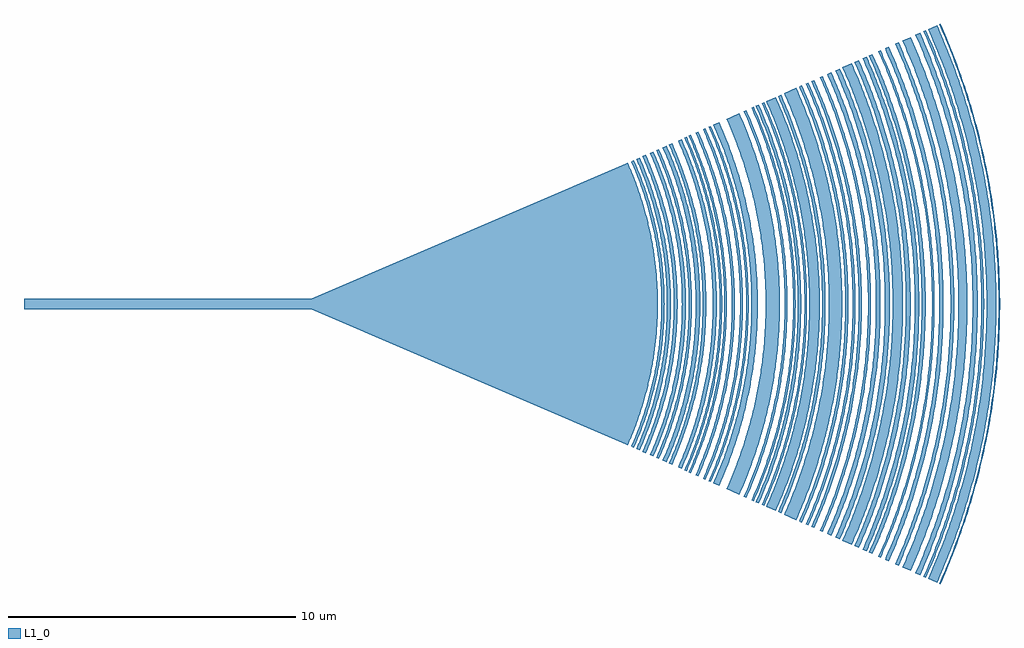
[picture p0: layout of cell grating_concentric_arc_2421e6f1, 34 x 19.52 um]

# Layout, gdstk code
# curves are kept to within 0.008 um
import gdstk
lib = gdstk.Library(unit=1e-6, precision=1e-09)
def R(c, l, rs):  # rectangles x0, y0, x1, y1
    for r in rs: c.add(gdstk.rectangle(r[:2], r[2:], *l))
def P(c, l, *ps):  # polygons
    for p in ps: c.add(gdstk.Polygon(p, *l))
L1_0 = (1, 0)

straight_b617759b = lib.new_cell('straight_b617759b')
R(straight_b617759b, L1_0, [(0,-0.175,10,0.175)])

ring_1ca9b793_transform_ = lib.new_cell('ring_1ca9b793_transform_1414539b')
P(ring_1ca9b793_transform_, L1_0, [(10.963,-4.881),(11.178,-4.366),(11.413,-3.708),(11.591,-3.106),(11.738,-2.495),(11.83,-2.015),(11.927,-1.324),(11.98,-0.698),(12,-0.07),(11.984,0.628),(11.948,1.115),(11.893,1.601),(11.78,2.29),(11.644,2.903),(11.434,3.642),(11.228,4.235),(10.963,4.881),(11.036,4.913),(11.278,4.329),(11.489,3.733),(11.668,3.127),(11.816,2.512),(11.931,1.89),(12.014,1.263),(12.067,0.562),(12.08,-0.07),(12.06,-0.702),(12.014,-1.263),(11.92,-1.959),(11.786,-2.649),(11.573,-3.465),(11.327,-4.198),(11.036,-4.913)])

ring_3956901d_transform_ = lib.new_cell('ring_3956901d_transform_1ece38c4')
P(ring_3956901d_transform_, L1_0, [(11.149,-4.964),(11.368,-4.44),(11.607,-3.771),(11.788,-3.159),(11.952,-2.468),(12.065,-1.839),(12.137,-1.276),(12.191,-0.568),(12.204,-0.071),(12.191,0.568),(12.151,1.134),(12.065,1.839),(11.98,2.329),(11.824,3.021),(11.65,3.636),(11.419,4.307),(11.149,4.964),(11.248,5.008),(11.52,4.346),(11.754,3.668),(11.947,2.979),(12.073,2.42),(12.183,1.784),(12.266,1.073),(12.305,0.43),(12.312,-0.143),(12.283,-0.859),(12.221,-1.501),(12.126,-2.138),(11.981,-2.839),(11.754,-3.668),(11.642,-4.009),(11.443,-4.546),(11.248,-5.008)])

ring_b46a7c33_transform_ = lib.new_cell('ring_b46a7c33_transform_6a0364df')
P(ring_b46a7c33_transform_, L1_0, [(11.327,-5.043),(11.55,-4.511),(11.77,-3.9),(11.958,-3.279),(12.113,-2.648),(12.247,-1.94),(12.324,-1.368),(12.374,-0.793),(12.399,-0.072),(12.386,0.577),(12.346,1.153),(12.279,1.726),(12.185,2.295),(12.031,3),(11.836,3.694),(11.627,4.308),(11.327,5.043),(11.449,5.098),(11.752,4.355),(11.964,3.734),(12.143,3.103),(12.289,2.463),(12.401,1.816),(12.472,1.238),(12.523,0.51),(12.533,-0.073),(12.497,-0.947),(12.421,-1.672),(12.303,-2.391),(12.161,-3.032),(12.027,-3.525),(11.897,-3.942),(11.752,-4.355),(11.565,-4.83),(11.449,-5.098)])

ring_a97a2f3e_transform_ = lib.new_cell('ring_a97a2f3e_transform_fb9c0f88')
P(ring_a97a2f3e_transform_, L1_0, [(11.545,-5.14),(11.825,-4.46),(12.042,-3.835),(12.226,-3.2),(12.362,-2.628),(12.471,-2.05),(12.569,-1.321),(12.621,-0.661),(12.638,-0.074),(12.627,0.515),(12.59,1.101),(12.525,1.686),(12.433,2.267),(12.28,2.986),(12.086,3.695),(11.825,4.46),(11.545,5.14),(11.663,5.193),(11.946,4.506),(12.165,3.875),(12.351,3.233),(12.488,2.654),(12.61,1.997),(12.705,1.261),(12.75,0.668),(12.767,-0.074),(12.736,-0.891),(12.663,-1.63),(12.533,-2.436),(12.406,-3.017),(12.165,-3.875),(11.865,-4.714),(11.663,-5.193)])

ring_4e7c77b2_transform_ = lib.new_cell('ring_4e7c77b2_transform_bd4cb71f')
P(ring_4e7c77b2_transform_, L1_0, [(11.805,-5.256),(12.01,-4.771),(12.267,-4.065),(12.463,-3.417),(12.608,-2.834),(12.739,-2.17),(12.844,-1.426),(12.901,-0.751),(12.922,-0.15),(12.915,0.451),(12.88,1.051),(12.817,1.649),(12.713,2.318),(12.557,3.053),(12.336,3.85),(12.091,4.561),(11.805,5.256),(11.927,5.31),(12.189,4.679),(12.417,4.034),(12.611,3.379),(12.786,2.64),(12.907,1.967),(12.992,1.289),(13.042,0.607),(13.056,-0.076),(13.034,-0.759),(12.968,-1.516),(12.844,-2.342),(12.704,-3.011),(12.463,-3.89),(12.32,-4.322),(12.105,-4.891),(11.927,-5.31)])

ring_9721cec2_transform_ = lib.new_cell('ring_9721cec2_transform_f5c1eb03')
P(ring_9721cec2_transform_, L1_0, [(12.022,-5.353),(12.286,-4.716),(12.516,-4.067),(12.671,-3.554),(12.856,-2.811),(12.986,-2.134),(13.088,-1.376),(13.142,-0.689),(13.16,-0.077),(13.146,0.612),(13.103,1.223),(13.032,1.831),(12.918,2.511),(12.731,3.332),(12.516,4.067),(12.286,4.716),(12.022,5.353),(12.116,5.394),(12.382,4.753),(12.614,4.098),(12.811,3.433),(12.989,2.682),(13.123,1.922),(13.198,1.31),(13.252,0.54),(13.262,-0.154),(13.225,-1.002),(13.164,-1.616),(13.048,-2.379),(12.905,-3.059),(12.683,-3.878),(12.515,-4.391),(12.382,-4.753),(12.116,-5.394)])

ring_73bfcdc7_transform_ = lib.new_cell('ring_73bfcdc7_transform_58539720')
P(ring_73bfcdc7_transform_, L1_0, [(12.242,-5.451),(12.483,-4.875),(12.721,-4.215),(12.924,-3.544),(13.075,-2.939),(13.211,-2.25),(13.301,-1.633),(13.363,-1.013),(13.399,-0.234),(13.393,0.468),(13.363,1.013),(13.291,1.711),(13.184,2.404),(13.003,3.242),(12.792,3.993),(12.539,4.73),(12.242,5.451),(12.385,5.514),(12.685,4.785),(12.942,4.039),(13.155,3.28),(13.293,2.664),(13.414,1.965),(13.506,1.182),(13.549,0.473),(13.554,-0.315),(13.506,-1.182),(13.436,-1.809),(13.323,-2.509),(13.155,-3.28),(13.054,-3.661),(12.894,-4.189),(12.74,-4.637),(12.51,-5.225),(12.385,-5.514)])

ring_8335ac07_transform_ = lib.new_cell('ring_8335ac07_transform_bd6a7ccd')
P(ring_8335ac07_transform_, L1_0, [(12.464,-5.549),(12.738,-4.89),(12.976,-4.216),(13.179,-3.531),(13.346,-2.837),(13.476,-2.134),(13.561,-1.505),(13.621,-0.793),(13.644,-0.079),(13.629,0.635),(13.599,1.11),(13.522,1.82),(13.423,2.447),(13.258,3.224),(13.048,3.989),(12.794,4.741),(12.464,5.549),(12.576,5.599),(12.881,4.859),(13.093,4.254),(13.318,3.486),(13.466,2.862),(13.597,2.154),(13.707,1.28),(13.752,0.64),(13.766,-0.16),(13.733,-0.96),(13.664,-1.678),(13.529,-2.548),(13.377,-3.253),(13.255,-3.718),(13.093,-4.254),(12.794,-5.083),(12.576,-5.599)])

ring_2f5b01a7_transform_ = lib.new_cell('ring_2f5b01a7_transform_c264f583')
P(ring_2f5b01a7_transform_, L1_0, [(12.784,-5.692),(13.035,-5.091),(13.283,-4.402),(13.517,-3.622),(13.688,-2.909),(13.834,-2.109),(13.917,-1.463),(13.97,-0.814),(13.993,-0.081),(13.982,0.57),(13.933,1.301),(13.846,2.028),(13.752,2.59),(13.578,3.385),(13.358,4.169),(13.093,4.939),(12.784,5.692),(12.908,5.747),(13.192,5.064),(13.464,4.288),(13.67,3.578),(13.838,2.857),(13.969,2.129),(14.053,1.477),(14.111,0.74),(14.13,-0.082),(14.096,-0.986),(14.025,-1.722),(13.901,-2.535),(13.73,-3.339),(13.583,-3.895),(13.464,-4.288),(13.306,-4.755),(13.132,-5.217),(12.908,-5.747)])

ring_f25dbea2_transform_ = lib.new_cell('ring_f25dbea2_transform_a5ac9774')
P(ring_f25dbea2_transform_, L1_0, [(13.007,-5.791),(13.322,-5.025),(13.541,-4.4),(13.753,-3.685),(13.927,-2.96),(14.063,-2.227),(14.16,-1.488),(14.214,-0.828),(14.238,-0.083),(14.226,0.58),(14.184,1.241),(14.088,2.064),(13.976,2.717),(13.795,3.525),(13.616,4.163),(13.322,5.025),(13.007,5.791),(13.08,5.824),(13.397,5.053),(13.643,4.345),(13.83,3.706),(14.005,2.977),(14.142,2.24),(14.248,1.414),(14.306,0.583),(14.318,-0.083),(14.294,-0.833),(14.231,-1.579),(14.115,-2.404),(13.951,-3.221),(13.74,-4.027),(13.565,-4.583),(13.426,-4.975),(13.08,-5.824)])

ring_76c28398_transform_ = lib.new_cell('ring_76c28398_transform_d417f10d')
P(ring_76c28398_transform_, L1_0, [(13.155,-5.857),(13.383,-5.317),(13.643,-4.609),(13.888,-3.808),(14.068,-3.076),(14.21,-2.335),(14.303,-1.672),(14.371,-0.921),(14.4,-0.084),(14.385,0.67),(14.338,1.338),(14.26,2.004),(14.136,2.748),(13.952,3.565),(13.721,4.37),(13.444,5.161),(13.155,5.857),(13.229,5.89),(13.549,5.111),(13.798,4.395),(14.009,3.666),(14.182,2.928),(14.303,2.265),(14.41,1.43),(14.469,0.59),(14.481,-0.084),(14.446,-1.01),(14.383,-1.681),(14.261,-2.515),(14.11,-3.257),(13.92,-3.991),(13.798,-4.395),(13.608,-4.953),(13.395,-5.503),(13.229,-5.89)])

ring_b0597b3c_transform_ = lib.new_cell('ring_b0597b3c_transform_0bf83291')
P(ring_b0597b3c_transform_, L1_0, [(13.395,-5.964),(13.658,-5.334),(13.945,-4.531),(14.163,-3.795),(14.324,-3.132),(14.482,-2.294),(14.573,-1.617),(14.642,-0.767),(14.662,-0.085),(14.65,0.597),(14.599,1.363),(14.52,2.041),(14.393,2.798),(14.206,3.63),(13.971,4.45),(13.719,5.175),(13.395,5.964),(13.485,6.004),(13.811,5.21),(14.065,4.48),(14.28,3.737),(14.456,2.985),(14.605,2.139),(14.689,1.457),(14.745,0.687),(14.76,-0.172),(14.731,-0.944),(14.651,-1.799),(14.506,-2.732),(14.363,-3.404),(14.116,-4.316),(13.811,-5.21),(13.485,-6.004)])

ring_af4eeae5_transform_ = lib.new_cell('ring_af4eeae5_transform_c0df47bc')
P(ring_af4eeae5_transform_, L1_0, [(13.655,-6.08),(13.955,-5.357),(14.189,-4.702),(14.415,-3.953),(14.603,-3.193),(14.75,-2.424),(14.866,-1.562),(14.927,-0.782),(14.948,0),(14.927,0.782),(14.883,1.389),(14.79,2.166),(14.673,2.852),(14.504,3.616),(14.243,4.536),(13.955,5.357),(13.655,6.08),(13.74,6.117),(14.073,5.308),(14.304,4.648),(14.528,3.893),(14.712,3.127),(14.869,2.266),(14.967,1.485),(15.02,0.787),(15.04,-0.088),(15.01,-0.962),(14.939,-1.746),(14.827,-2.526),(14.655,-3.383),(14.409,-4.314),(14.221,-4.897),(14.073,-5.308),(13.74,-6.117)])

ring_6f009d45_transform_ = lib.new_cell('ring_6f009d45_transform_e38b5351')
P(ring_6f009d45_transform_, L1_0, [(13.851,-6.167),(14.155,-5.433),(14.42,-4.685),(14.622,-4.009),(14.793,-3.325),(14.916,-2.72),(15.049,-1.848),(15.131,-0.97),(15.161,-0.176),(15.149,0.617),(15.104,1.321),(15.026,2.023),(14.9,2.806),(14.69,3.753),(14.447,4.601),(14.155,5.433),(13.851,6.167),(13.925,6.2),(14.198,5.545),(14.469,4.794),(14.7,4.031),(14.891,3.256),(15.041,2.472),(15.159,1.593),(15.226,0.709),(15.242,-0.089),(15.217,-0.886),(15.129,-1.858),(15.011,-2.647),(14.852,-3.429),(14.602,-4.372),(14.293,-5.296),(13.925,-6.2)])

ring_d22cdcd2_transform_ = lib.new_cell('ring_d22cdcd2_transform_54c9284a')
P(ring_d22cdcd2_transform_, L1_0, [(14.016,-6.24),(14.291,-5.581),(14.563,-4.826),(14.796,-4.057),(14.969,-3.364),(15.109,-2.664),(15.228,-1.87),(15.305,-1.07),(15.34,-0.268),(15.336,0.446),(15.305,1.07),(15.249,1.692),(15.139,2.488),(15.043,3.015),(14.929,3.538),(14.698,4.4),(14.535,4.91),(14.355,5.415),(14.016,6.24),(14.216,6.329),(14.528,5.577),(14.828,4.723),(15.031,4.028),(15.24,3.147),(15.384,2.345),(15.494,1.446),(15.549,0.634),(15.559,-0.272),(15.545,-0.724),(15.51,-1.266),(15.41,-2.166),(15.276,-2.969),(15.077,-3.852),(14.882,-4.55),(14.714,-5.066),(14.528,-5.577),(14.253,-6.247),(14.216,-6.329)])

ring_f7bf19e5_transform_ = lib.new_cell('ring_f7bf19e5_transform_fd82e000')
P(ring_f7bf19e5_transform_, L1_0, [(14.471,-6.443),(14.755,-5.762),(15.007,-5.07),(15.201,-4.455),(15.392,-3.743),(15.549,-3.022),(15.686,-2.205),(15.78,-1.381),(15.827,-0.645),(15.838,0.276),(15.795,1.197),(15.686,2.205),(15.549,3.022),(15.392,3.743),(15.121,4.719),(14.821,5.59),(14.471,6.443),(14.918,6.642),(15.279,5.763),(15.56,4.956),(15.798,4.135),(16.03,3.116),(16.184,2.179),(16.276,1.329),(16.323,0.475),(16.33,0),(16.32,-0.57),(16.29,-1.139),(16.25,-1.612),(16.184,-2.179),(16.082,-2.836),(15.973,-3.395),(15.845,-3.951),(15.56,-4.956),(15.279,-5.763),(14.918,-6.642)])

ring_f0fb9f86_transform_ = lib.new_cell('ring_f0fb9f86_transform_b7094234')
P(ring_f0fb9f86_transform_, L1_0, [(15.075,-6.712),(15.371,-6.003),(15.694,-5.099),(15.914,-4.364),(16.121,-3.525),(16.283,-2.676),(16.401,-1.82),(16.468,-1.055),(16.501,-0.096),(16.484,0.768),(16.421,1.629),(16.313,2.487),(16.18,3.243),(15.964,4.178),(15.723,5.008),(15.405,5.914),(15.075,6.712),(15.158,6.749),(15.491,5.946),(15.781,5.127),(16.052,4.201),(16.25,3.355),(16.418,2.405),(16.512,1.638),(16.575,0.772),(16.592,-0.193),(16.559,-1.061),(16.481,-1.926),(16.341,-2.881),(16.167,-3.733),(16.052,-4.201),(15.896,-4.759),(15.72,-5.311),(15.559,-5.766),(15.348,-6.305),(15.158,-6.749)])

ring_616f2821_transform_ = lib.new_cell('ring_616f2821_transform_ec3c8f6b')
P(ring_616f2821_transform_, L1_0, [(15.345,-6.832),(15.646,-6.111),(15.975,-5.191),(16.225,-4.347),(16.43,-3.492),(16.575,-2.724),(16.705,-1.756),(16.769,-0.977),(16.797,-0.098),(16.779,0.781),(16.715,1.659),(16.62,2.434),(16.45,3.397),(16.25,4.253),(16.005,5.098),(15.716,5.928),(15.345,6.832),(15.418,6.864),(15.721,6.14),(16.051,5.215),(16.302,4.368),(16.508,3.509),(16.621,2.931),(16.699,2.446),(16.804,1.569),(16.859,0.785),(16.877,-0.098),(16.867,-0.589),(16.836,-1.177),(16.763,-1.959),(16.621,-2.931),(16.466,-3.701),(16.352,-4.178),(16.196,-4.746),(15.892,-5.68),(15.685,-6.231),(15.418,-6.864)])

ring_92eb7c8f_transform_ = lib.new_cell('ring_92eb7c8f_transform_8c77d55c')
P(ring_92eb7c8f_transform_, L1_0, [(15.493,-6.898),(15.833,-6.078),(16.129,-5.241),(16.356,-4.485),(16.589,-3.526),(16.735,-2.75),(16.856,-1.871),(16.931,-0.986),(16.959,-0.099),(16.941,0.789),(16.886,1.576),(16.766,2.556),(16.648,3.236),(16.456,4.103),(16.189,5.053),(16.003,5.615),(15.833,6.078),(15.493,6.898),(15.596,6.944),(15.938,6.118),(16.236,5.275),(16.49,4.418),(16.699,3.549),(16.846,2.769),(16.978,1.784),(17.043,0.993),(17.072,0),(17.043,-0.993),(16.956,-1.982),(16.846,-2.769),(16.739,-3.355),(16.634,-3.84),(16.383,-4.801),(16.174,-5.464),(16.008,-5.932),(15.829,-6.395),(15.596,-6.944)])

ring_41ee6f07_transform_ = lib.new_cell('ring_41ee6f07_transform_f49a7be0')
P(ring_41ee6f07_transform_, L1_0, [(15.706,-6.993),(16.014,-6.254),(16.32,-5.408),(16.58,-4.546),(16.774,-3.77),(16.965,-2.788),(17.076,-1.996),(17.157,-1.099),(17.192,-0.1),(17.174,0.8),(17.118,1.598),(17.011,2.492),(16.857,3.379),(16.632,4.353),(16.351,5.313),(16.086,6.068),(15.706,6.993),(15.783,7.027),(16.129,6.191),(16.431,5.339),(16.688,4.471),(16.899,3.592),(17.064,2.703),(17.182,1.806),(17.258,0.804),(17.276,-0.101),(17.253,-0.904),(17.171,-1.906),(17.048,-2.802),(16.856,-3.788),(16.607,-4.762),(16.302,-5.72),(16.056,-6.378),(15.783,-7.027)])

ring_82b0fcb2_transform_ = lib.new_cell('ring_82b0fcb2_transform_48464db8')
P(ring_82b0fcb2_transform_, L1_0, [(15.856,-7.06),(16.168,-6.314),(16.476,-5.46),(16.739,-4.59),(16.935,-3.806),(17.111,-2.915),(17.228,-2.115),(17.315,-1.211),(17.35,-0.505),(17.35,0.505),(17.291,1.513),(17.174,2.516),(17.019,3.411),(16.817,4.297),(16.569,5.171),(16.24,6.126),(15.856,7.06),(16.188,7.207),(16.58,6.254),(16.755,5.769),(16.946,5.181),(17.194,4.287),(17.414,3.28),(17.548,2.466),(17.653,1.544),(17.713,0.515),(17.713,-0.515),(17.653,-1.544),(17.588,-2.16),(17.518,-2.67),(17.414,-3.28),(17.289,-3.886),(17.034,-4.884),(16.853,-5.476),(16.651,-6.061),(16.43,-6.638),(16.188,-7.207)])

ring_30e68007_transform_ = lib.new_cell('ring_30e68007_transform_c37fd624')
P(ring_30e68007_transform_, L1_0, [(16.267,-7.243),(16.661,-6.284),(16.967,-5.404),(17.2,-4.609),(17.439,-3.601),(17.603,-2.683),(17.709,-1.861),(17.782,-0.932),(17.806,-0.104),(17.792,0.725),(17.739,1.552),(17.633,2.478),(17.499,3.296),(17.277,4.308),(16.998,5.305),(16.661,6.284),(16.267,7.243),(16.371,7.289),(16.693,6.519),(17.011,5.637),(17.283,4.739),(17.529,3.726),(17.7,2.803),(17.833,1.769),(17.906,0.73),(17.92,-0.104),(17.884,-1.146),(17.787,-2.184),(17.63,-3.214),(17.461,-4.031),(17.337,-4.537),(17.168,-5.14),(16.978,-5.736),(16.804,-6.227),(16.616,-6.713),(16.371,-7.289)])

ring_97668e3d_transform_ = lib.new_cell('ring_97668e3d_transform_ea463c46')
P(ring_97668e3d_transform_, L1_0, [(16.48,-7.338),(16.842,-6.465),(17.157,-5.575),(17.398,-4.77),(17.601,-3.956),(17.784,-3.029),(17.918,-2.094),(17.996,-1.258),(18.035,-0.42),(18.029,0.63),(17.962,1.677),(17.834,2.718),(17.688,3.545),(17.578,4.058),(17.452,4.568),(17.221,5.375),(16.916,6.269),(16.687,6.855),(16.48,7.338),(16.903,7.526),(17.274,6.631),(17.63,5.615),(17.927,4.581),(18.163,3.53),(18.323,2.575),(18.39,2.041),(18.45,1.398),(18.498,0.431),(18.495,-0.538),(18.432,-1.613),(18.365,-2.255),(18.275,-2.894),(18.076,-3.952),(17.927,-4.581),(17.756,-5.203),(17.597,-5.718),(17.35,-6.429),(17.115,-7.031),(16.903,-7.526)])

ring_89e4e6ef_transform_ = lib.new_cell('ring_89e4e6ef_transform_a7ecdbf8')
P(ring_89e4e6ef_transform_, L1_0, [(17.003,-7.57),(17.376,-6.67),(17.701,-5.751),(17.978,-4.817),(18.205,-3.87),(18.383,-2.912),(18.51,-1.945),(18.592,-0.866),(18.612,0),(18.592,0.866),(18.521,1.838),(18.399,2.805),(18.249,3.658),(18.135,4.187),(17.978,4.817),(17.734,5.648),(17.376,6.67),(17.003,7.57),(17.102,7.614),(17.477,6.709),(17.804,5.785),(18.054,4.95),(18.311,3.892),(18.49,2.928),(18.629,1.848),(18.7,0.871),(18.72,-0.109),(18.682,-1.197),(18.606,-2.065),(18.538,-2.605),(18.436,-3.251),(18.24,-4.211),(18.11,-4.74),(17.934,-5.369),(17.77,-5.888),(17.554,-6.505),(17.357,-7.013),(17.102,-7.614)])

ring_59d61e18_transform_ = lib.new_cell('ring_59d61e18_transform_db57f6b1')
P(ring_59d61e18_transform_, L1_0, [(17.238,-7.675),(17.616,-6.762),(17.946,-5.831),(18.226,-4.884),(18.434,-4.03),(18.637,-2.952),(18.754,-2.081),(18.837,-1.097),(18.869,-0.11),(18.849,0.878),(18.777,1.863),(18.654,2.843),(18.501,3.708),(18.282,4.671),(18.108,5.306),(17.946,5.831),(17.616,6.762),(17.238,7.675),(17.322,7.712),(17.702,6.795),(17.999,5.964),(18.315,4.907),(18.547,3.942),(18.71,3.075),(18.857,1.982),(18.935,0.992),(18.961,-0.11),(18.929,-1.102),(18.889,-1.653),(18.833,-2.201),(18.692,-3.184),(18.475,-4.265),(18.196,-5.332),(17.999,-5.964),(17.855,-6.381),(17.58,-7.103),(17.322,-7.712)])

ring_fafdce9c_transform_ = lib.new_cell('ring_fafdce9c_transform_9e136751')
P(ring_fafdce9c_transform_, L1_0, [(17.43,-7.761),(17.813,-6.838),(18.112,-6.002),(18.401,-5.045),(18.64,-4.075),(18.809,-3.204),(18.879,-2.765),(18.964,-2.105),(19.048,-1.109),(19.08,-0.111),(19.054,0.999),(18.987,1.884),(18.879,2.765),(18.708,3.75),(18.486,4.723),(18.214,5.685),(18.004,6.317),(17.813,6.838),(17.43,7.761),(17.526,7.803),(17.95,6.771),(18.245,5.928),(18.41,5.395),(18.559,4.857),(18.765,3.989),(18.948,3.001),(19.079,2.005),(19.158,1.004),(19.184,-0.112),(19.152,-1.115),(19.067,-2.116),(19.013,-2.559),(18.912,-3.221),(18.717,-4.207),(18.587,-4.749),(18.41,-5.395),(18.175,-6.14),(17.989,-6.666),(17.745,-7.29),(17.526,-7.803)])

ring_880d7c96_transform_ = lib.new_cell('ring_880d7c96_transform_8a98fd33')
P(ring_880d7c96_transform_, L1_0, [(17.727,-7.893),(17.949,-7.374),(18.156,-6.849),(18.49,-5.889),(18.773,-4.913),(18.981,-4.035),(19.166,-3.036),(19.287,-2.141),(19.372,-1.128),(19.405,-0.113),(19.389,0.79),(19.321,1.804),(19.2,2.812),(19.027,3.813),(18.908,4.365),(18.773,4.913),(18.49,5.889),(18.156,6.849),(17.949,7.374),(17.727,7.893),(17.817,7.932),(18.04,7.411),(18.248,6.883),(18.548,6.027),(18.809,5.157),(18.951,4.608),(19.077,4.055),(19.263,3.051),(19.396,2.039),(19.447,1.474),(19.482,0.907),(19.503,0),(19.495,-0.567),(19.47,-1.134),(19.384,-2.151),(19.245,-3.163),(19.053,-4.166),(18.896,-4.828),(18.716,-5.485),(18.365,-6.564),(18.083,-7.306),(17.817,-7.932)])

ring_40982994_transform_ = lib.new_cell('ring_40982994_transform_e53ba399')
P(ring_40982994_transform_, L1_0, [(17.979,-8.005),(18.373,-7.053),(18.717,-6.081),(19.009,-5.094),(19.226,-4.204),(19.401,-3.305),(19.56,-2.171),(19.64,-1.259),(19.679,-0.229),(19.668,0.687),(19.615,1.601),(19.504,2.625),(19.34,3.643),(19.176,4.427),(19.039,4.983),(18.752,5.972),(18.414,6.946),(17.979,8.005),(18.122,8.068),(18.478,7.216),(18.68,6.676),(18.866,6.13),(19.161,5.134),(19.302,4.575),(19.45,3.898),(19.555,3.331),(19.644,2.761),(19.751,1.844),(19.796,1.269),(19.825,0.692),(19.834,-0.346),(19.81,-1.038),(19.78,-1.499),(19.675,-2.532),(19.593,-3.103),(19.494,-3.672),(19.379,-4.237),(19.248,-4.799),(19.1,-5.357),(18.866,-6.13),(18.68,-6.676),(18.478,-7.216),(18.122,-8.068)])

ring_e3a54e04_transform_ = lib.new_cell('ring_e3a54e04_transform_bac7a120')
P(ring_e3a54e04_transform_, L1_0, [(18.264,-8.132),(18.665,-7.165),(18.978,-6.289),(19.153,-5.734),(19.312,-5.175),(19.556,-4.157),(19.747,-3.128),(19.871,-2.205),(19.952,-1.279),(19.992,-0.233),(19.981,0.698),(19.927,1.627),(19.814,2.667),(19.669,3.586),(19.556,4.157),(19.427,4.724),(19.25,5.399),(19.085,5.956),(18.904,6.509),(18.665,7.165),(18.264,8.132),(18.421,8.202),(18.652,7.662),(18.867,7.117),(19.066,6.565),(19.249,6.008),(19.537,4.992),(19.748,4.078),(19.934,3.038),(20.066,1.991),(20.107,1.524),(20.148,0.821),(20.163,-0.235),(20.123,-1.29),(20.088,-1.757),(20.014,-2.457),(19.858,-3.501),(19.748,-4.078),(19.621,-4.65),(19.447,-5.332),(19.249,-6.008),(19.066,-6.565),(18.783,-7.336),(18.421,-8.202)])

ring_1cce2dd5_transform_ = lib.new_cell('ring_1cce2dd5_transform_fd141189')
P(ring_1cce2dd5_transform_, L1_0, [(18.511,-8.242),(18.875,-7.372),(19.235,-6.374),(19.542,-5.358),(19.796,-4.328),(19.995,-3.286),(20.112,-2.469),(20.214,-1.413),(20.258,-0.472),(20.255,0.589),(20.229,1.178),(20.186,1.766),(20.14,2.235),(20.049,2.937),(19.935,3.635),(19.845,4.098),(19.603,5.131),(19.308,6.149),(19.121,6.708),(18.917,7.262),(18.511,8.242),(18.835,8.386),(19.205,7.501),(19.415,6.939),(19.609,6.371),(19.786,5.798),(19.946,5.22),(20.062,4.755),(20.216,4.052),(20.4,2.988),(20.478,2.394),(20.539,1.797),(20.601,0.839),(20.615,0.36),(20.615,-0.36),(20.601,-0.839),(20.559,-1.558),(20.505,-2.155),(20.417,-2.869),(20.325,-3.462),(20.216,-4.052),(20.062,-4.755),(19.946,-5.22),(19.717,-6.028),(19.455,-6.826),(19.161,-7.612),(18.835,-8.386)])

ring_188af4d4_transform_ = lib.new_cell('ring_188af4d4_transform_22e26a8c')
P(ring_188af4d4_transform_, L1_0, [(18.931,-8.429),(19.347,-7.426),(19.709,-6.404),(20.017,-5.364),(20.245,-4.426),(20.449,-3.361),(20.597,-2.286),(20.681,-1.325),(20.722,-0.241),(20.706,0.844),(20.644,1.806),(20.538,2.765),(20.365,3.836),(20.136,4.896),(20.017,5.364),(19.818,6.059),(19.633,6.633),(19.432,7.201),(19.169,7.875),(18.931,8.429),(19.08,8.495),(19.499,7.485),(19.864,6.454),(20.175,5.406),(20.323,4.817),(20.455,4.224),(20.569,3.627),(20.666,3.027),(20.796,1.941),(20.869,0.85),(20.885,-0.243),(20.864,-0.972),(20.835,-1.457),(20.731,-2.545),(20.569,-3.627),(20.455,-4.224),(20.295,-4.935),(20.143,-5.523),(19.938,-6.223),(19.668,-7.029),(19.411,-7.711),(19.08,-8.495)])

ring_52846508_transform_ = lib.new_cell('ring_52846508_transform_ee5f0b96')
P(ring_52846508_transform_, L1_0, [(19.213,-8.554),(19.635,-7.537),(19.846,-6.963),(20.04,-6.383),(20.315,-5.443),(20.572,-4.373),(20.691,-3.773),(20.792,-3.169),(20.929,-2.077),(21.003,-1.101),(21.032,0),(21.003,1.101),(20.929,2.077),(20.792,3.169),(20.622,4.133),(20.377,5.207),(20.217,5.797),(20.04,6.383),(19.846,6.963),(19.635,7.537),(19.213,8.554),(19.352,8.616),(19.777,7.592),(20.147,6.546),(20.462,5.483),(20.721,4.404),(20.923,3.314),(21.068,2.214),(21.155,1.109),(21.184,0),(21.155,-1.109),(21.103,-1.846),(21.054,-2.337),(20.978,-2.948),(20.883,-3.557),(20.771,-4.163),(20.641,-4.765),(20.462,-5.483),(20.258,-6.194),(20.03,-6.897),(19.777,-7.592),(19.352,-8.616)])

ring_ccb308ee_transform_ = lib.new_cell('ring_ccb308ee_transform_2ec504d4')
P(ring_ccb308ee_transform_, L1_0, [(19.435,-8.653),(19.861,-7.624),(20.233,-6.574),(20.517,-5.626),(20.783,-4.544),(20.972,-3.572),(21.067,-2.961),(21.144,-2.347),(21.238,-1.237),(21.274,-0.124),(21.251,0.99),(21.182,1.977),(21.067,2.961),(20.883,4.059),(20.729,4.786),(20.612,5.267),(20.45,5.864),(20.271,6.456),(20.033,7.16),(19.861,7.624),(19.435,8.653),(19.558,8.708),(19.987,7.672),(20.361,6.616),(20.545,6.021),(20.712,5.421),(20.967,4.329),(21.165,3.226),(21.305,2.114),(21.386,0.996),(21.409,-0.125),(21.373,-1.245),(21.328,-1.866),(21.25,-2.609),(21.084,-3.718),(20.967,-4.329),(20.832,-4.937),(20.68,-5.541),(20.474,-6.259),(20.283,-6.852),(20.075,-7.439),(19.85,-8.02),(19.558,-8.708)])

ring_f1c935d1_transform_ = lib.new_cell('ring_f1c935d1_transform_c4452558')
P(ring_f1c935d1_transform_, L1_0, [(19.766,-8.8),(20.154,-7.871),(20.538,-6.806),(20.866,-5.721),(21.137,-4.621),(21.35,-3.509),(21.443,-2.886),(21.518,-2.262),(21.607,-1.132),(21.636,-0.126),(21.613,1.007),(21.543,2.011),(21.426,3.011),(21.239,4.128),(21.024,5.112),(20.763,6.085),(20.538,6.806),(20.288,7.518),(20.061,8.105),(19.766,8.8),(19.839,8.833),(20.039,8.369),(20.319,7.664),(20.692,6.59),(21.009,5.498),(21.268,4.391),(21.449,3.397),(21.539,2.772),(21.61,2.144),(21.693,1.01),(21.716,-0.126),(21.68,-1.263),(21.584,-2.396),(21.429,-3.522),(21.293,-4.268),(21.188,-4.762),(21.009,-5.498),(20.84,-6.107),(20.653,-6.711),(20.45,-7.309),(20.182,-8.018),(19.839,-8.833)])

ring_c88edad7_transform_ = lib.new_cell('ring_c88edad7_transform_02c53782')
P(ring_c88edad7_transform_, L1_0, [(19.994,-8.902),(20.433,-7.843),(20.815,-6.763),(21.141,-5.665),(21.408,-4.55),(21.597,-3.549),(21.753,-2.414),(21.842,-1.4),(21.873,-0.764),(21.886,-0.127),(21.863,1.018),(21.792,2.034),(21.655,3.172),(21.46,4.301),(21.354,4.799),(21.173,5.542),(21.039,6.033),(20.854,6.642),(20.61,7.366),(20.433,7.843),(19.994,8.902),(20.127,8.961),(20.379,8.372),(20.614,7.776),(20.953,6.808),(21.281,5.702),(21.55,4.581),(21.74,3.573),(21.817,3.066),(21.911,2.303),(22.001,1.153),(22.025,0.513),(22.031,-0.128),(21.994,-1.281),(21.897,-2.43),(21.799,-3.193),(21.697,-3.826),(21.467,-4.956),(21.281,-5.702),(21.106,-6.319),(20.831,-7.173),(20.614,-7.776),(20.379,-8.372),(20.127,-8.961)])

ring_16b05f7d_transform_ = lib.new_cell('ring_16b05f7d_transform_f813c412')
P(ring_16b05f7d_transform_, L1_0, [(20.352,-9.061),(20.798,-7.984),(21.064,-7.253),(21.227,-6.761),(21.519,-5.766),(21.791,-4.632),(21.983,-3.613),(22.079,-2.972),(22.156,-2.329),(22.214,-1.683),(22.254,-1.036),(22.278,0),(22.254,1.036),(22.169,2.2),(22.043,3.229),(21.843,4.378),(21.707,5.011),(21.552,5.641),(21.227,6.761),(21.064,7.253),(20.798,7.984),(20.352,9.061),(20.467,9.112),(20.916,8.029),(21.141,7.417),(21.347,6.799),(21.5,6.301),(21.674,5.673),(21.941,4.53),(22.041,4.019),(22.148,3.376),(22.237,2.73),(22.307,2.082),(22.38,1.042),(22.404,-0.13),(22.39,-0.782),(22.358,-1.433),(22.307,-2.082),(22.237,-2.73),(22.064,-3.89),(21.83,-5.04),(21.641,-5.799),(21.463,-6.426),(21.267,-7.047),(21.053,-7.663),(20.773,-8.393),(20.467,-9.112)])

ring_1dd5ba2b_transform_ = lib.new_cell('ring_1dd5ba2b_transform_57eb0dd1')
P(ring_1dd5ba2b_transform_, L1_0, [(20.603,-9.173),(21.007,-8.204),(21.408,-7.094),(21.75,-5.964),(22.004,-4.945),(22.113,-4.432),(22.254,-3.658),(22.4,-2.618),(22.467,-1.966),(22.506,-1.442),(22.549,-0.394),(22.539,0.787),(22.478,1.835),(22.368,2.879),(22.21,3.916),(22.06,4.689),(21.914,5.329),(21.75,5.964),(21.567,6.594),(21.408,7.094),(21.147,7.837),(20.861,8.57),(20.603,9.173),(20.884,9.298),(21.146,8.687),(21.342,8.192),(21.742,7.064),(21.938,6.429),(22.149,5.659),(22.415,4.492),(22.536,3.839),(22.638,3.182),(22.721,2.522),(22.785,1.86),(22.851,0.665),(22.857,-0.399),(22.836,-1.064),(22.785,-1.86),(22.656,-3.05),(22.536,-3.839),(22.415,-4.492),(22.149,-5.659),(21.862,-6.684),(21.615,-7.443),(21.294,-8.316),(20.938,-9.177),(20.884,-9.298)])

ring_7aac44e3_transform_ = lib.new_cell('ring_7aac44e3_transform_39715f42')
P(ring_7aac44e3_transform_, L1_0, [(21.054,-9.374),(21.468,-8.384),(21.657,-7.882),(21.919,-7.122),(22.191,-6.224),(22.362,-5.576),(22.515,-4.923),(22.742,-3.738),(22.891,-2.676),(23,-1.474),(23.045,-0.268),(23.028,0.938),(22.959,2.009),(22.841,3.075),(22.673,4.134),(22.426,5.315),(22.191,6.224),(22.04,6.738),(21.791,7.503),(21.564,8.134),(21.318,8.758),(21.054,9.374),(21.214,9.445),(21.48,8.824),(21.728,8.196),(22.127,7.047),(22.431,6.01),(22.565,5.487),(22.715,4.828),(22.821,4.298),(22.957,3.499),(23.109,2.293),(23.197,1.08),(23.222,-0.135),(23.183,-1.35),(23.134,-2.024),(23.065,-2.696),(22.977,-3.366),(22.869,-4.032),(22.627,-5.224),(22.431,-6.01),(22.207,-6.789),(21.957,-7.56),(21.728,-8.196),(21.48,-8.824),(21.214,-9.445)])

ring_70d5da66_transform_ = lib.new_cell('ring_70d5da66_transform_9d6cb1d2')
P(ring_70d5da66_transform_, L1_0, [(21.334,-9.498),(21.601,-8.874),(21.85,-8.242),(22.21,-7.216),(22.557,-6.044),(22.814,-4.988),(22.949,-4.322),(23.065,-3.653),(23.225,-2.441),(23.313,-1.358),(23.343,-0.679),(23.352,-0.136),(23.333,0.951),(23.296,1.629),(23.251,2.171),(23.195,2.711),(23.106,3.385),(22.998,4.055),(22.897,4.589),(22.659,5.649),(22.371,6.698),(22.124,7.474),(21.85,8.242),(21.601,8.874),(21.334,9.498),(21.416,9.535),(21.685,8.908),(21.886,8.401),(22.076,7.89),(22.296,7.244),(22.497,6.593),(22.679,5.936),(22.959,4.741),(23.087,4.071),(23.196,3.398),(23.342,2.179),(23.424,0.954),(23.443,-0.136),(23.429,-0.818),(23.395,-1.499),(23.342,-2.179),(23.285,-2.722),(23.133,-3.802),(22.986,-4.607),(22.872,-5.141),(22.747,-5.671),(22.535,-6.462),(22.296,-7.244),(22.076,-7.89),(21.787,-8.655),(21.416,-9.535)])

ring_7f8dcef8_transform_ = lib.new_cell('ring_7f8dcef8_transform_2baaf163')
P(ring_7f8dcef8_transform_, L1_0, [(21.5,-9.572),(21.922,-8.562),(22.34,-7.403),(22.66,-6.355),(22.802,-5.826),(22.991,-5.027),(23.128,-4.356),(23.223,-3.817),(23.391,-2.596),(23.486,-1.505),(23.531,-0.411),(23.528,0.548),(23.477,1.642),(23.391,2.596),(23.223,3.817),(23.102,4.491),(22.9,5.427),(22.732,6.091),(22.506,6.881),(22.34,7.403),(22.068,8.178),(21.769,8.943),(21.5,9.572),(21.81,9.71),(22.083,9.072),(22.338,8.426),(22.528,7.904),(22.748,7.245),(22.949,6.581),(23.096,6.045),(23.381,4.828),(23.511,4.146),(23.622,3.46),(23.712,2.772),(23.783,2.081),(23.825,1.527),(23.864,0.694),(23.87,-0.417),(23.848,-1.111),(23.806,-1.804),(23.679,-3.047),(23.558,-3.872),(23.435,-4.555),(23.293,-5.235),(23.131,-5.91),(22.831,-6.98),(22.528,-7.904),(22.187,-8.814),(21.81,-9.71)])

ring_0cac5538_transform_ = lib.new_cell('ring_0cac5538_transform_964b29ab')
P(ring_0cac5538_transform_, L1_0, [(21.883,-9.743),(22.104,-9.231),(22.313,-8.714),(22.557,-8.062),(22.738,-7.535),(22.948,-6.87),(23.138,-6.2),(23.276,-5.66),(23.401,-5.117),(23.514,-4.571),(23.637,-3.885),(23.74,-3.196),(23.823,-2.504),(23.885,-1.81),(23.921,-1.254),(23.944,-0.697),(23.954,0),(23.944,0.697),(23.921,1.254),(23.885,1.81),(23.823,2.504),(23.74,3.196),(23.659,3.747),(23.59,4.16),(23.459,4.844),(23.34,5.388),(23.208,5.93),(23.064,6.469),(22.866,7.137),(22.649,7.799),(22.363,8.584),(22.104,9.231),(21.883,9.743),(21.925,9.762),(22.2,9.12),(22.356,8.731),(22.553,8.208),(22.782,7.549),(22.992,6.883),(23.146,6.346),(23.32,5.671),(23.476,4.99),(23.611,4.305),(23.705,3.754),(23.804,3.063),(23.869,2.509),(23.942,1.674),(23.974,1.117),(23.994,0.558),(24,-0.14),(23.99,-0.698),(23.951,-1.535),(23.909,-2.092),(23.854,-2.648),(23.747,-3.478),(23.659,-4.03),(23.559,-4.579),(23.416,-5.263),(23.287,-5.806),(23.146,-6.346),(22.992,-6.883),(22.738,-7.681),(22.456,-8.47),(22.2,-9.12),(21.925,-9.762)])

grating_concentric_arc_2 = lib.new_cell('grating_concentric_arc_2421e6f1')
P(grating_concentric_arc_2, L1_0, [(0,0.175),(0,-0.175),(10.963,-4.881),(11.203,-4.3),(11.413,-3.708),(11.564,-3.207),(11.716,-2.597),(11.818,-2.084),(11.923,-1.358),(11.978,-0.733),(12,-0.105),(11.989,0.523),(11.945,1.15),(11.868,1.774),(11.738,2.495),(11.564,3.207),(11.413,3.708),(11.203,4.3),(10.963,4.881)])
grating_concentric_arc_2.add(gdstk.Reference(straight_b617759b, (-10,0)))
grating_concentric_arc_2.add(gdstk.Reference(ring_1ca9b793_transform_, (0,0)))
grating_concentric_arc_2.add(gdstk.Reference(ring_3956901d_transform_, (0,0)))
grating_concentric_arc_2.add(gdstk.Reference(ring_b46a7c33_transform_, (0,0)))
grating_concentric_arc_2.add(gdstk.Reference(ring_a97a2f3e_transform_, (0,0)))
grating_concentric_arc_2.add(gdstk.Reference(ring_4e7c77b2_transform_, (0,0)))
grating_concentric_arc_2.add(gdstk.Reference(ring_9721cec2_transform_, (0,0)))
grating_concentric_arc_2.add(gdstk.Reference(ring_73bfcdc7_transform_, (0,0)))
grating_concentric_arc_2.add(gdstk.Reference(ring_8335ac07_transform_, (0,0)))
grating_concentric_arc_2.add(gdstk.Reference(ring_2f5b01a7_transform_, (0,0)))
grating_concentric_arc_2.add(gdstk.Reference(ring_f25dbea2_transform_, (0,0)))
grating_concentric_arc_2.add(gdstk.Reference(ring_76c28398_transform_, (0,0)))
grating_concentric_arc_2.add(gdstk.Reference(ring_b0597b3c_transform_, (0,0)))
grating_concentric_arc_2.add(gdstk.Reference(ring_af4eeae5_transform_, (0,0)))
grating_concentric_arc_2.add(gdstk.Reference(ring_6f009d45_transform_, (0,0)))
grating_concentric_arc_2.add(gdstk.Reference(ring_d22cdcd2_transform_, (0,0)))
grating_concentric_arc_2.add(gdstk.Reference(ring_f7bf19e5_transform_, (0,0)))
grating_concentric_arc_2.add(gdstk.Reference(ring_f0fb9f86_transform_, (0,0)))
grating_concentric_arc_2.add(gdstk.Reference(ring_616f2821_transform_, (0,0)))
grating_concentric_arc_2.add(gdstk.Reference(ring_92eb7c8f_transform_, (0,0)))
grating_concentric_arc_2.add(gdstk.Reference(ring_41ee6f07_transform_, (0,0)))
grating_concentric_arc_2.add(gdstk.Reference(ring_82b0fcb2_transform_, (0,0)))
grating_concentric_arc_2.add(gdstk.Reference(ring_30e68007_transform_, (0,0)))
grating_concentric_arc_2.add(gdstk.Reference(ring_97668e3d_transform_, (0,0)))
grating_concentric_arc_2.add(gdstk.Reference(ring_89e4e6ef_transform_, (0,0)))
grating_concentric_arc_2.add(gdstk.Reference(ring_59d61e18_transform_, (0,0)))
grating_concentric_arc_2.add(gdstk.Reference(ring_fafdce9c_transform_, (0,0)))
grating_concentric_arc_2.add(gdstk.Reference(ring_880d7c96_transform_, (0,0)))
grating_concentric_arc_2.add(gdstk.Reference(ring_40982994_transform_, (0,0)))
grating_concentric_arc_2.add(gdstk.Reference(ring_e3a54e04_transform_, (0,0)))
grating_concentric_arc_2.add(gdstk.Reference(ring_1cce2dd5_transform_, (0,0)))
grating_concentric_arc_2.add(gdstk.Reference(ring_188af4d4_transform_, (0,0)))
grating_concentric_arc_2.add(gdstk.Reference(ring_52846508_transform_, (0,0)))
grating_concentric_arc_2.add(gdstk.Reference(ring_ccb308ee_transform_, (0,0)))
grating_concentric_arc_2.add(gdstk.Reference(ring_f1c935d1_transform_, (0,0)))
grating_concentric_arc_2.add(gdstk.Reference(ring_c88edad7_transform_, (0,0)))
grating_concentric_arc_2.add(gdstk.Reference(ring_16b05f7d_transform_, (0,0)))
grating_concentric_arc_2.add(gdstk.Reference(ring_1dd5ba2b_transform_, (0,0)))
grating_concentric_arc_2.add(gdstk.Reference(ring_7aac44e3_transform_, (0,0)))
grating_concentric_arc_2.add(gdstk.Reference(ring_70d5da66_transform_, (0,0)))
grating_concentric_arc_2.add(gdstk.Reference(ring_7f8dcef8_transform_, (0,0)))
grating_concentric_arc_2.add(gdstk.Reference(ring_0cac5538_transform_, (0,0)))

lib.write_gds('grating_concentric_arc_2421e6f1.gds')
